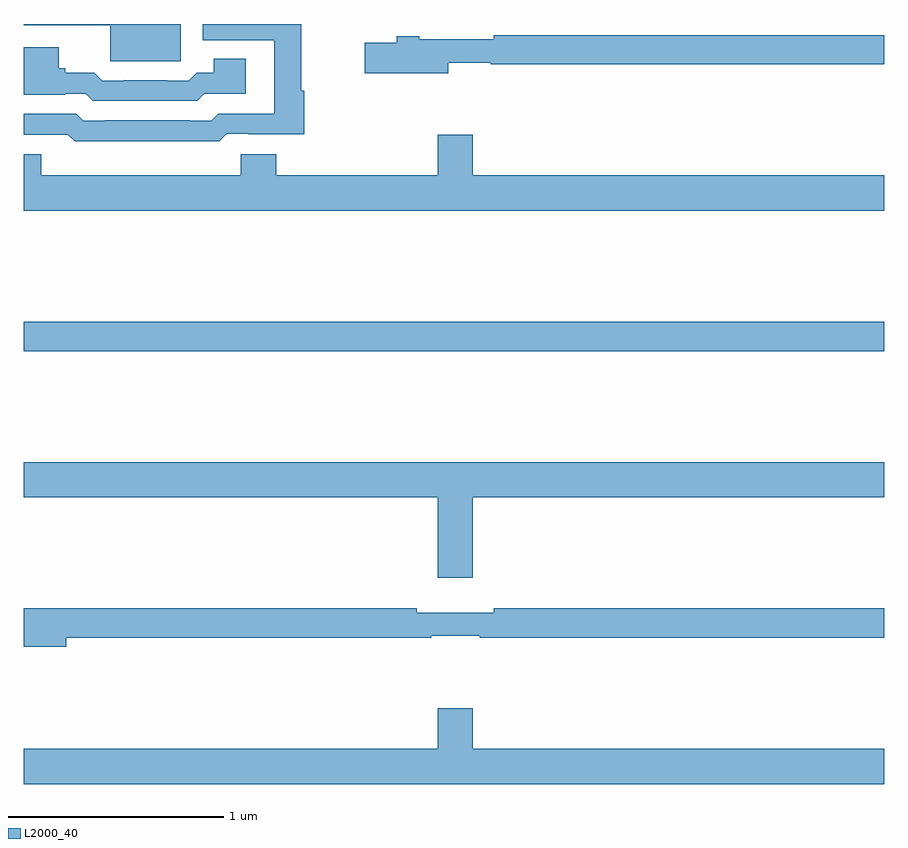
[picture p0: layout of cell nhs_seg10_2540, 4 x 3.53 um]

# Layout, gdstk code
import gdstk
lib = gdstk.Library(unit=1e-6, precision=1e-09)
def R(c, l, rs):  # rectangles x0, y0, x1, y1
    for r in rs: c.add(gdstk.rectangle(r[:2], r[2:], *l))
def P(c, l, *ps):  # polygons
    for p in ps: c.add(gdstk.Polygon(p, *l))
L2000_40 = (2000, 40)

nhs_seg10_2540 = lib.new_cell('nhs_seg10_2540')
R(nhs_seg10_2540, L2000_40, [(247,1316.98,251,1317.116)])
P(nhs_seg10_2540, L2000_40, [(247.729,1318.5),(247,1318.5),(247,1318.494),(247.403,1318.494),(247.403,1318.328),(247.729,1318.328)],
  [(247.436,1317.956),(247.714,1317.956),(247.714,1317.954),(247.909,1317.954),(247.945,1317.99),(248.044,1317.99),(248.044,1317.987),(248.303,1317.987),(248.303,1318.19),(248.29,1318.19),(248.29,1318.5),(247.833,1318.5),(247.833,1318.424),(248.165,1318.424),(248.165,1318.083),(247.905,1318.083),(247.872,1318.05),(247.772,1318.05),(247.772,1318.053),(247.378,1318.053),(247.378,1318.05),(247.278,1318.05),(247.245,1318.083),(247,1318.083),(247,1317.986),(247.205,1317.986),(247.238,1317.954),(247.436,1317.954)],
  [(248.974,1318.32),(249.17,1318.32),(249.17,1318.312),(251,1318.312),(251,1318.448),(249.184,1318.448),(249.184,1318.429),(248.839,1318.429),(248.839,1318.442),(248.735,1318.442),(248.735,1318.412),(248.586,1318.412),(248.586,1318.27),(248.974,1318.27)],
  [(247.839,1318.176),(248.032,1318.176),(248.032,1318.339),(247.883,1318.339),(247.883,1318.273),(247.804,1318.273),(247.767,1318.236),(247.667,1318.236),(247.667,1318.239),(247.465,1318.239),(247.465,1318.236),(247.365,1318.236),(247.327,1318.274),(247.194,1318.274),(247.194,1318.294),(247.162,1318.294),(247.162,1318.393),(247,1318.393),(247,1318.172),(247.193,1318.172),(247.193,1318.176),(247.289,1318.176),(247.322,1318.143),(247.806,1318.143)],
  [(251,1317.796),(249.088,1317.796),(249.088,1317.985),(248.924,1317.985),(248.924,1317.796),(248.174,1317.796),(248.174,1317.895),(248.009,1317.895),(248.009,1317.796),(247.082,1317.796),(247.082,1317.895),(247,1317.895),(247,1317.632),(251,1317.632)],
  [(249.088,1316.3),(251,1316.3),(251,1316.464),(247,1316.464),(247,1316.3),(248.924,1316.3),(248.924,1315.926),(249.088,1315.926)],
  [(247.198,1315.648),(248.894,1315.648),(248.894,1315.656),(249.12,1315.656),(249.12,1315.648),(251,1315.648),(251,1315.784),(249.184,1315.784),(249.184,1315.765),(248.828,1315.765),(248.828,1315.784),(247,1315.784),(247,1315.606),(247.198,1315.606)],
  [(251,1315.132),(249.088,1315.132),(249.088,1315.321),(248.924,1315.321),(248.924,1315.132),(247,1315.132),(247,1314.968),(251,1314.968)])

lib.write_gds('nhs_seg10_2540.gds')
